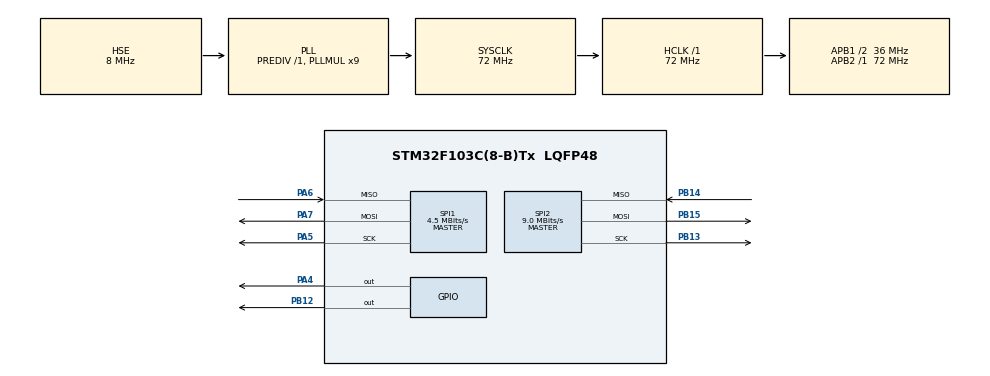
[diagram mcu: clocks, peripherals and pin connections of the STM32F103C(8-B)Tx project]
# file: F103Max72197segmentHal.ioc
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Dma.Request0=SPI1_RX
Dma.Request1=SPI1_TX
Dma.SPI1_RX.0.Direction=DMA_PERIPH_TO_MEMORY
Dma.SPI1_RX.0.Instance=DMA1_Channel2
Dma.SPI1_RX.0.MemDataAlignment=DMA_MDATAALIGN_BYTE
Dma.SPI1_RX.0.MemInc=DMA_MINC_ENABLE
Dma.SPI1_RX.0.Mode=DMA_NORMAL
Dma.SPI1_RX.0.PeriphDataAlignment=DMA_PDATAALIGN_BYTE
Dma.SPI1_RX.0.PeriphInc=DMA_PINC_DISABLE
Dma.SPI1_RX.0.Priority=DMA_PRIORITY_LOW
Dma.SPI1_TX.1.Direction=DMA_MEMORY_TO_PERIPH
Dma.SPI1_TX.1.Instance=DMA1_Channel3
Dma.SPI1_TX.1.MemDataAlignment=DMA_MDATAALIGN_BYTE
Dma.SPI1_TX.1.MemInc=DMA_MINC_ENABLE
Dma.SPI1_TX.1.Mode=DMA_NORMAL
Dma.SPI1_TX.1.PeriphDataAlignment=DMA_PDATAALIGN_BYTE
Dma.SPI1_TX.1.PeriphInc=DMA_PINC_DISABLE
Dma.SPI1_TX.1.Priority=DMA_PRIORITY_LOW
Mcu.Family=STM32F1
Mcu.Name=STM32F103C(8-B)Tx
Mcu.Package=LQFP48
NVIC.DMA1_Channel2_IRQn=true\:0\:0\:false\:false\:true\:false\:true\:true
NVIC.DMA1_Channel3_IRQn=true\:0\:0\:false\:false\:true\:false\:true\:true
NVIC.PriorityGroup=NVIC_PRIORITYGROUP_4
NVIC.RCC_IRQn=true\:0\:0\:false\:false\:true\:true\:false\:true
NVIC.SPI1_IRQn=true\:0\:0\:false\:false\:true\:true\:true\:true
PA13.Mode=Serial_Wire
PA13.Signal=SYS_JTMS-SWDIO
PA14.Mode=Serial_Wire
PA14.Signal=SYS_JTCK-SWCLK
PA4.GPIO_Speed=GPIO_SPEED_FREQ_MEDIUM
PA4.Signal=GPIO_Output
PA5.Mode=Full_Duplex_Master
PA5.Signal=SPI1_SCK
PA6.Mode=Full_Duplex_Master
PA6.Signal=SPI1_MISO
PA7.Mode=Full_Duplex_Master
PA7.Signal=SPI1_MOSI
PB12.GPIO_Speed=GPIO_SPEED_FREQ_MEDIUM
PB12.Signal=GPIO_Output
PB13.Mode=Full_Duplex_Master
PB13.Signal=SPI2_SCK
PB14.Mode=Full_Duplex_Master
PB14.Signal=SPI2_MISO
PB15.Mode=Full_Duplex_Master
PB15.Signal=SPI2_MOSI
PD0-OSC_IN.Mode=HSE-External-Oscillator
PD0-OSC_IN.Signal=RCC_OSC_IN
PD1-OSC_OUT.Mode=HSE-External-Oscillator
PD1-OSC_OUT.Signal=RCC_OSC_OUT
ProjectManager.HeapSize=0x200
ProjectManager.StackSize=0x400
ProjectManager.TargetToolchain=STM32CubeIDE
RCC.AHBFreq_Value=72000000
RCC.APB1CLKDivider=RCC_HCLK_DIV2
RCC.APB1Freq_Value=36000000
RCC.APB1TimFreq_Value=72000000
RCC.APB2Freq_Value=72000000
RCC.APB2TimFreq_Value=72000000
RCC.HCLKFreq_Value=72000000
RCC.PLLMUL=RCC_PLL_MUL9
RCC.PLLSourceVirtual=RCC_PLLSOURCE_HSE
RCC.SYSCLKFreq_VALUE=72000000
RCC.SYSCLKSource=RCC_SYSCLKSOURCE_PLLCLK
RCC.USBFreq_Value=72000000
SPI1.BaudRatePrescaler=SPI_BAUDRATEPRESCALER_16
SPI1.CalculateBaudRate=4.5 MBits/s
SPI1.DataSize=SPI_DATASIZE_16BIT
SPI1.Direction=SPI_DIRECTION_2LINES
SPI1.Mode=SPI_MODE_MASTER
SPI1.VirtualType=VM_MASTER
SPI2.BaudRatePrescaler=SPI_BAUDRATEPRESCALER_4
SPI2.CalculateBaudRate=9.0 MBits/s
SPI2.DataSize=SPI_DATASIZE_16BIT
SPI2.Direction=SPI_DIRECTION_2LINES
SPI2.Mode=SPI_MODE_MASTER
SPI2.VirtualType=VM_MASTER
board=custom

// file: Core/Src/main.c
/* USER CODE BEGIN Header */
/**
  ******************************************************************************
  * @file           : main.c
  * @brief          : Main program body
  ******************************************************************************
  ** This notice applies to any and all portions of this file
  * that are not between comment pairs USER CODE BEGIN and
  * USER CODE END. Other portions of this file, whether
  * inserted by the user or by software development tools
  * are owned by their respective copyright owners.
  *
  * COPYRIGHT(c) 2019 STMicroelectronics
  *
  * Redistribution and use in source and binary forms, with or without modification,
  * are permitted provided that the following conditions are met:
  *   1. Redistributions of source code must retain the above copyright notice,
  *      this list of conditions and the following disclaimer.
  *   2. Redistributions in binary form must reproduce the above copyright notice,
  *      this list of conditions and the following disclaimer in the documentation
  *      and/or other materials provided with the distribution.
  *   3. Neither the name of STMicroelectronics nor the names of its contributors
  *      may be used to endorse or promote products derived from this software
  *      without specific prior written permission.
  *
  * THIS SOFTWARE IS PROVIDED BY THE COPYRIGHT HOLDERS AND CONTRIBUTORS "AS IS"
  * AND ANY EXPRESS OR IMPLIED WARRANTIES, INCLUDING, BUT NOT LIMITED TO, THE
  * IMPLIED WARRANTIES OF MERCHANTABILITY AND FITNESS FOR A PARTICULAR PURPOSE ARE
  * DISCLAIMED. IN NO EVENT SHALL THE COPYRIGHT HOLDER OR CONTRIBUTORS BE LIABLE
  * FOR ANY DIRECT, INDIRECT, INCIDENTAL, SPECIAL, EXEMPLARY, OR CONSEQUENTIAL
  * DAMAGES (INCLUDING, BUT NOT LIMITED TO, PROCUREMENT OF SUBSTITUTE GOODS OR
  * SERVICES; LOSS OF USE, DATA, OR PROFITS; OR BUSINESS INTERRUPTION) HOWEVER
  * CAUSED AND ON ANY THEORY OF LIABILITY, WHETHER IN CONTRACT, STRICT LIABILITY,
  * OR TORT (INCLUDING NEGLIGENCE OR OTHERWISE) ARISING IN ANY WAY OUT OF THE USE
  * OF THIS SOFTWARE, EVEN IF ADVISED OF THE POSSIBILITY OF SUCH DAMAGE.
  *
  ******************************************************************************
  */
/* USER CODE END Header */
#include "main.h"

/* USER CODE BEGIN Includes */
#include "max7219.h"
/* USER CODE END Includes */

SPI_HandleTypeDef hspi1;
SPI_HandleTypeDef hspi2;
DMA_HandleTypeDef hdma_spi1_rx;
DMA_HandleTypeDef hdma_spi1_tx;

/* USER CODE BEGIN PV */
uint16_t src_buf[1024] = {0};
uint16_t dst_buf[1024] = {0};
uint8_t fl=0;
uint16_t i;
/* USER CODE END PV */

void SystemClock_Config(void);
static void MX_GPIO_Init(void);
static void MX_DMA_Init(void);
static void MX_SPI1_Init(void);
static void MX_SPI2_Init(void);

int main(void)
{
  /* USER CODE BEGIN 1 */
  uint16_t n;
  /* USER CODE END 1 */

  /* MCU Configuration--------------------------------------------------------*/

  /* Reset of all peripherals, Initializes the Flash interface and the Systick. */
  HAL_Init();

  /* Configure the system clock */
  SystemClock_Config();

  /* Initialize all configured peripherals */
  MX_GPIO_Init();
  MX_DMA_Init();
  MX_SPI1_Init();
  MX_SPI2_Init();
  /* USER CODE BEGIN 2 */
  i=0;
  HAL_GPIO_WritePin(GPIOA, GPIO_PIN_4, GPIO_PIN_SET);
  HAL_GPIO_WritePin(GPIOB, GPIO_PIN_12, GPIO_PIN_SET);
	HAL_Delay(100);
	Init_7219();
  //fill src buffer
  for(i=0;i<1024;i++)
  {
    src_buf[i] = i;
  }
  Number_7219(76500);
	HAL_Delay(2000);
  /* USER CODE END 2 */

  /* Infinite loop */
  while (1)
  {

    /* USER CODE BEGIN 3 */
    if(i>1023) i=0;
    HAL_GPIO_WritePin(GPIOA, GPIO_PIN_4, GPIO_PIN_RESET);
    HAL_SPI_TransmitReceive_IT(&hspi1, (uint8_t*) (src_buf+i), (uint8_t *) (dst_buf+i), 128);
    while(!fl) {}
    break;
    fl=0;
    for(n=0;n<128;n++)
    {
      NumberR_7219(src_buf[n+i]);
      NumberL_7219(dst_buf[n+i]);
      HAL_Delay(50);
    }
    HAL_Delay(1000);
    i+=128;
  }
  /* USER CODE END 3 */
}

void SystemClock_Config(void)
{
  RCC_OscInitTypeDef RCC_OscInitStruct = {0};
  RCC_ClkInitTypeDef RCC_ClkInitStruct = {0};

  /** Initializes the RCC Oscillators according to the specified parameters
  * in the RCC_OscInitTypeDef structure.
  */
  RCC_OscInitStruct.OscillatorType = RCC_OSCILLATORTYPE_HSE;
  RCC_OscInitStruct.HSEState = RCC_HSE_ON;
  RCC_OscInitStruct.HSEPredivValue = RCC_HSE_PREDIV_DIV1;
  RCC_OscInitStruct.HSIState = RCC_HSI_ON;
  RCC_OscInitStruct.PLL.PLLState = RCC_PLL_ON;
  RCC_OscInitStruct.PLL.PLLSource = RCC_PLLSOURCE_HSE;
  RCC_OscInitStruct.PLL.PLLMUL = RCC_PLL_MUL9;
  if (HAL_RCC_OscConfig(&RCC_OscInitStruct) != HAL_OK)
  {
    Error_Handler();
  }

  /** Initializes the CPU, AHB and APB buses clocks
  */
  RCC_ClkInitStruct.ClockType = RCC_CLOCKTYPE_HCLK|RCC_CLOCKTYPE_SYSCLK
                              |RCC_CLOCKTYPE_PCLK1|RCC_CLOCKTYPE_PCLK2;
  RCC_ClkInitStruct.SYSCLKSource = RCC_SYSCLKSOURCE_PLLCLK;
  RCC_ClkInitStruct.AHBCLKDivider = RCC_SYSCLK_DIV1;
  RCC_ClkInitStruct.APB1CLKDivider = RCC_HCLK_DIV2;
  RCC_ClkInitStruct.APB2CLKDivider = RCC_HCLK_DIV1;

  if (HAL_RCC_ClockConfig(&RCC_ClkInitStruct, FLASH_LATENCY_2) != HAL_OK)
  {
    Error_Handler();
  }
}

static void MX_SPI1_Init(void)
{

  /* SPI1 parameter configuration*/
  hspi1.Instance = SPI1;
  hspi1.Init.Mode = SPI_MODE_MASTER;
  hspi1.Init.Direction = SPI_DIRECTION_2LINES;
  hspi1.Init.DataSize = SPI_DATASIZE_16BIT;
  hspi1.Init.CLKPolarity = SPI_POLARITY_LOW;
  hspi1.Init.CLKPhase = SPI_PHASE_1EDGE;
  hspi1.Init.NSS = SPI_NSS_SOFT;
  hspi1.Init.BaudRatePrescaler = SPI_BAUDRATEPRESCALER_16;
  hspi1.Init.FirstBit = SPI_FIRSTBIT_MSB;
  hspi1.Init.TIMode = SPI_TIMODE_DISABLE;
  hspi1.Init.CRCCalculation = SPI_CRCCALCULATION_DISABLE;
  hspi1.Init.CRCPolynomial = 10;
  if (HAL_SPI_Init(&hspi1) != HAL_OK)
  {
    Error_Handler();
  }

}

static void MX_SPI2_Init(void)
{

  /* SPI2 parameter configuration*/
  hspi2.Instance = SPI2;
  hspi2.Init.Mode = SPI_MODE_MASTER;
  hspi2.Init.Direction = SPI_DIRECTION_2LINES;
  hspi2.Init.DataSize = SPI_DATASIZE_16BIT;
  hspi2.Init.CLKPolarity = SPI_POLARITY_LOW;
  hspi2.Init.CLKPhase = SPI_PHASE_1EDGE;
  hspi2.Init.NSS = SPI_NSS_SOFT;
  hspi2.Init.BaudRatePrescaler = SPI_BAUDRATEPRESCALER_4;
  hspi2.Init.FirstBit = SPI_FIRSTBIT_MSB;
  hspi2.Init.TIMode = SPI_TIMODE_DISABLE;
  hspi2.Init.CRCCalculation = SPI_CRCCALCULATION_DISABLE;
  hspi2.Init.CRCPolynomial = 10;
  if (HAL_SPI_Init(&hspi2) != HAL_OK)
  {
    Error_Handler();
  }

}

static void MX_DMA_Init(void)
{

  /* DMA controller clock enable */
  __HAL_RCC_DMA1_CLK_ENABLE();

  /* DMA interrupt init */
  /* DMA1_Channel2_IRQn interrupt configuration */
  HAL_NVIC_SetPriority(DMA1_Channel2_IRQn, 0, 0);
  HAL_NVIC_EnableIRQ(DMA1_Channel2_IRQn);
  /* DMA1_Channel3_IRQn interrupt configuration */
  HAL_NVIC_SetPriority(DMA1_Channel3_IRQn, 0, 0);
  HAL_NVIC_EnableIRQ(DMA1_Channel3_IRQn);

}

static void MX_GPIO_Init(void)
{
  GPIO_InitTypeDef GPIO_InitStruct = {0};

  /* GPIO Ports Clock Enable */
  __HAL_RCC_GPIOD_CLK_ENABLE();
  __HAL_RCC_GPIOA_CLK_ENABLE();
  __HAL_RCC_GPIOB_CLK_ENABLE();

  /*Configure GPIO pin Output Level */
  HAL_GPIO_WritePin(GPIOA, GPIO_PIN_4, GPIO_PIN_RESET);

  /*Configure GPIO pin Output Level */
  HAL_GPIO_WritePin(GPIOB, GPIO_PIN_12, GPIO_PIN_RESET);

  /*Configure GPIO pin : PA4 */
  GPIO_InitStruct.Pin = GPIO_PIN_4;
  GPIO_InitStruct.Mode = GPIO_MODE_OUTPUT_PP;
  GPIO_InitStruct.Pull = GPIO_NOPULL;
  GPIO_InitStruct.Speed = GPIO_SPEED_FREQ_MEDIUM;
  HAL_GPIO_Init(GPIOA, &GPIO_InitStruct);

  /*Configure GPIO pin : PB12 */
  GPIO_InitStruct.Pin = GPIO_PIN_12;
  GPIO_InitStruct.Mode = GPIO_MODE_OUTPUT_PP;
  GPIO_InitStruct.Pull = GPIO_NOPULL;
  GPIO_InitStruct.Speed = GPIO_SPEED_FREQ_MEDIUM;
  HAL_GPIO_Init(GPIOB, &GPIO_InitStruct);

}

/* USER CODE BEGIN 4 */
void HAL_SPI_TxRxCpltCallback(SPI_HandleTypeDef *hspi)
{
  if(hspi == &hspi1)
  {
    HAL_GPIO_WritePin(GPIOA, GPIO_PIN_4, GPIO_PIN_SET);
    fl=1;
  }
}
/* USER CODE END 4 */

void Error_Handler(void)
{
}
